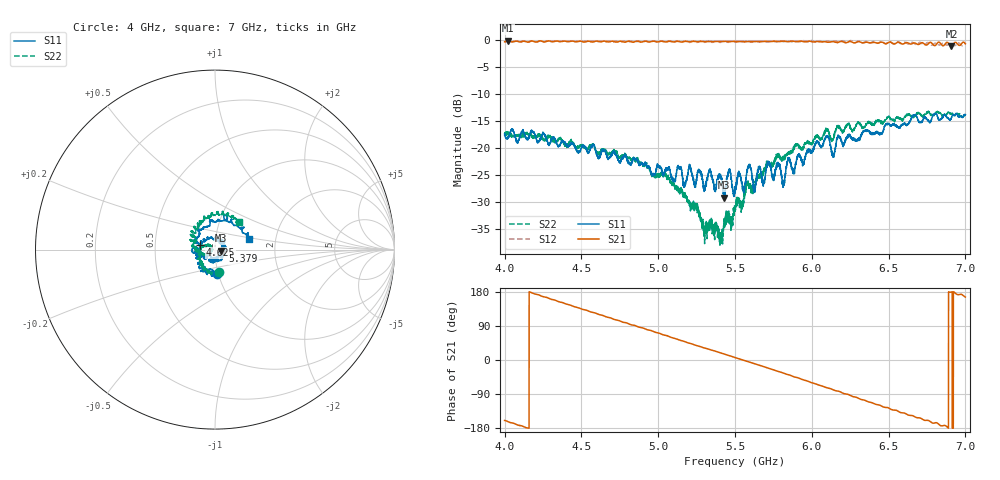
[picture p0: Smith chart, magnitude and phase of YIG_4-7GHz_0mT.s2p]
#  HZ  S  RI  R  50.0
! Rohde & Schwarz ZVL13 2Ports - Version 3.31 - 1303.6509k13 SN: 101088
! Date: 2023-03-06 14:57:42
! Data & Calibration Information:
! Trc4:S11(TOSM) Trc2:S21(TOSM) Trc3:S12(TOSM) Trc5:S22(TOSM)
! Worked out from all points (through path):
!   4000 points, 4 GHz to 7 GHz, reference 50 ohm
!   highest |S21| = -0.21 dB at 4.02 GHz (marker M1); lowest = -1.1 dB at 6.909 GHz (marker M2)
!   group delay of S21, straight-line fit = 364 ps
!   lowest |S11| = -29.2 dB at 5.428 GHz (marker M3), VSWR 1.07, Z = 53.5 - j0.598 ohm
!   |S11| at or under -10 dB: start of sweep to end of sweep
!   |S22| runs from -38.2 to -13.2 dB; largest |S21 - S12| = 0.075
!   S11 on the Smith chart (normalised r, x): 4 GHz: 0.98, -0.27; 4.625 GHz: 0.84, +0.05; 5.379 GHz: 1.10, -0.02; 7 GHz: 1.46, +0.18
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4e9  0.00892 -0.1337  -0.8971 -0.335  -0.9037 -0.3133  0.0198 -0.127
4.019505e9  -0.0165 -0.1211  -0.9303 -0.2967  -0.9219 -0.2985  0.0186 -0.1382
4.277569e9  -0.0728 -0.0915  -0.9337 0.2568  -0.9383 0.2648  -0.0603 -0.1103
4.500375e9  -0.0993 -0.0103  -0.6786 0.6881  -0.6726 0.6759  -0.0773 -0.0659
4.624906e9  -0.0838 0.0269  -0.4646 0.8364  -0.469 0.854  -0.088 -0.0305
5e9  0.00298 0.068  0.3039 0.9051  0.3067 0.8947  -0.0488 0.0264
5.378845e9  0.0455 -0.00902  0.8904 0.3672  0.9052 0.3662  -0.0196 -0.000238
5.427607e9  0.0341 -0.00558  0.9257 0.2683  0.9351 0.269  -0.0197 -0.00228
5.460615e9  0.0543 -0.0286  0.9415 0.1944  0.9277 0.2017  -0.0198 -0.0031
5.500375e9  0.0302 -0.0315  0.9572 0.1069  0.9464 0.1008  -0.0212 -0.0147
5.591148e9  0.0316 -0.0592  0.9572 -0.0851  0.9592 -0.0991  -0.0379 -0.0262
5.627157e9  0.0111 -0.0369  0.948 -0.1619  0.9552 -0.1564  -0.0399 -0.0213
5.737434e9  -0.00663 -0.0598  0.8791 -0.3942  0.8891 -0.3957  -0.0663 -0.0314
5.782446e9  -0.0274 -0.066  0.8298 -0.4843  0.8437 -0.4773  -0.0826 -0.0149
5.815454e9  -0.0247 -0.0371  0.7968 -0.551  0.7865 -0.5497  -0.0756 -0.0274
5.847712e9  -0.0642 -0.0466  0.7482 -0.6009  0.7559 -0.617  -0.0891 -0.0096
6e9  -0.0895 -0.011  0.4779 -0.8315  0.4914 -0.851  -0.1101 0.0124
6.254314e9  -0.1071 0.0652  -0.0757 -0.9567  -0.076 -0.9802  -0.1168 0.0918
6.500375e9  -0.0249 0.1649  -0.5619 -0.7601  -0.5791 -0.7619  -0.061 0.1818
6.72093e9  0.0837 0.1549  -0.8615 -0.3724  -0.8481 -0.3319  0.0223 0.1946
6.909227e9  0.1677 0.0886  -0.8774 0.00905  -0.9234 0.0385  0.0998 0.1862
7e9  0.1929 0.0597  -0.8906 0.2206  -0.9083 0.1908  0.1303 0.1518
